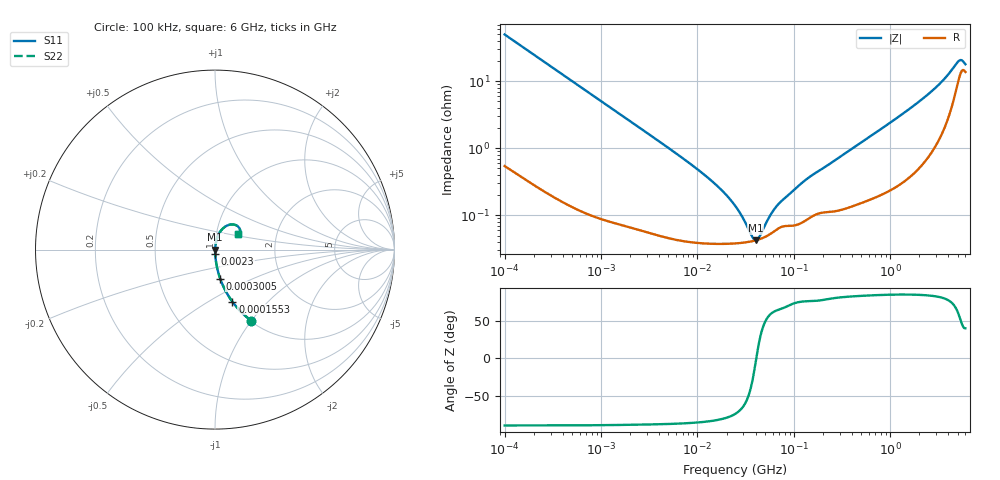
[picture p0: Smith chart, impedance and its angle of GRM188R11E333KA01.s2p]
!Murata Part Number: GRM188R11E333KA01
!These Parameters are Measured in Series Mode Connection
!Data Generated on Mar 30, 2021
!  o--ll--o
!Port1  Port2
!  o------o
!Operation Temp=25[degC], DC Bias Voltage=0[V]
!Freq. Start=100[kHz] Stop=6[GHz] 401[Steps]
# Hz S RI R 50
!Freq.(Hz) S11(Real) S11(Imag) S21(Real) S21(Imag) S12(Real) S12(Imag) S22(Real) S22(Imag)
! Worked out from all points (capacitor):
!   401 points, 100 kHz to 6 GHz, reference 50 ohm
!   read as one part in series: C = 31.8 nF near 105.7 kHz
!   lowest |Z| = 42.5 mohm at 40.19 MHz (marker M1)
!   series resonance near 40.75 MHz, so ESL is about 480 pH
!   S11 on the Smith chart (normalised r, x): 100 kHz: 1.01, -1.00; 155.3 kHz: 1.01, -0.64; 300.5 kHz: 1.00, -0.33; 2.3 MHz: 1.00, -0.04; 6 GHz: 1.28, +0.23
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100000  0.2021 -0.3962  0.7979 0.3962  0.7979 0.3962  0.2021 -0.3962
155284  0.0968 -0.2902  0.9032 0.2902  0.9032 0.2902  0.0968 -0.2902
300480  0.0291 -0.1621  0.9709 0.1621  0.9709 0.1621  0.0291 -0.1621
631452  0.00746 -0.0793  0.9925 0.0793  0.9925 0.0793  0.00746 -0.0793
2300240  0.00111 -0.022  0.9989 0.022  0.9989 0.022  0.00111 -0.022
3987316  0.000658 -0.0127  0.9993 0.0127  0.9993 0.0127  0.000658 -0.0127
1.337449e7  0.000389 -0.00344  0.9996 0.00344  0.9996 0.00344  0.000389 -0.00344
1.912349e7  0.00038 -0.00211  0.9996 0.00211  0.9996 0.00211  0.00038 -0.00211
2.517799e7  0.000383 -0.00127  0.9996 0.00127  0.9996 0.00127  0.000383 -0.00127
2.969568e7  0.000391 -0.000816  0.9996 0.000816  0.9996 0.000816  0.000391 -0.000816
3.700465e7  0.000411 -0.000245  0.9996 0.000245  0.9996 0.000245  0.000411 -0.000245
4.018763e7  0.000423 -3.48e-05  0.9996 3.48e-05  0.9996 3.48e-05  0.000423 -3.48e-05
4.36444e7  0.000439 0.000175  0.9996 -0.000175  0.9996 -0.000175  0.000439 0.000175
5.590324e7  0.000519 0.000808  0.9995 -0.000808  0.9995 -0.000808  0.000519 0.000808
6.777267e7  0.000628 0.00128  0.9994 -0.00128  0.9994 -0.00128  0.000628 0.00128
1.546735e8  0.000977 0.00386  0.999 -0.00386  0.999 -0.00386  0.000977 0.00386
9.76689e8  0.00286 0.0234  0.9971 -0.0234  0.9971 -0.0234  0.00286 0.0234
2.628996e9  0.0129 0.0674  0.9871 -0.0674  0.9871 -0.0674  0.0129 0.0674
3.971646e9  0.0409 0.1146  0.9591 -0.1146  0.9591 -0.1146  0.0409 0.1146
4.949184e9  0.1024 0.1398  0.8976 -0.1398  0.8976 -0.1398  0.1024 0.1398
5.374892e9  0.1349 0.1214  0.8651 -0.1214  0.8651 -0.1214  0.1349 0.1214
6e9  0.13 0.0879  0.87 -0.0879  0.87 -0.0879  0.13 0.0879
